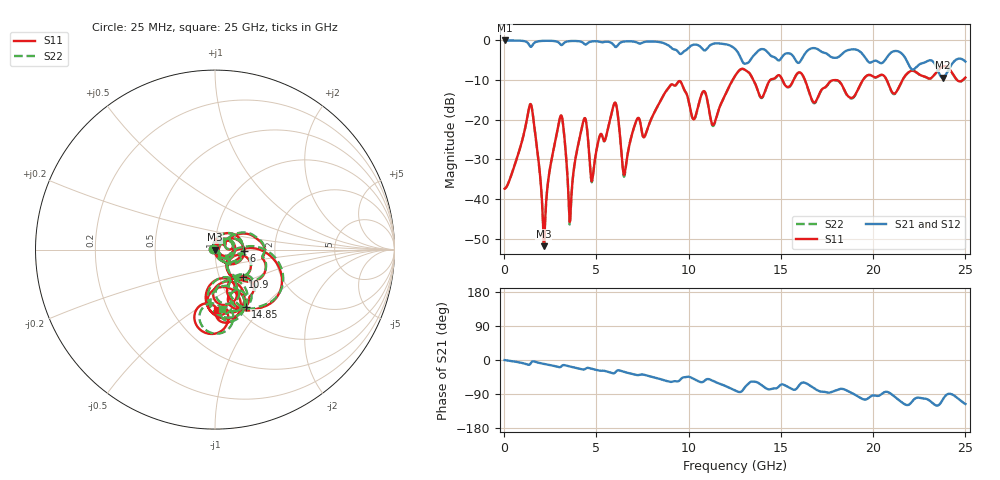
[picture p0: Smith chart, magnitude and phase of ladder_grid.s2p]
! R_s4_rect_n1: kisi's ladder with the plane pair as a finite cavity (grid) (Finite board 24 × 16 mm, via L1 → L4 through the L2/L3 cavity, one GND via 2 mm away)
# Hz S RI R 50
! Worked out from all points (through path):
!   1000 points, 25 MHz to 25 GHz, reference 50 ohm
!   highest |S21| = -0.12 dB at 25 MHz (marker M1); lowest = -9.5 dB at 23.77 GHz (marker M2)
!   group delay of S21, straight-line fit = 12.1 ps
!   lowest |S11| = -51.8 dB at 2.15 GHz (marker M3), VSWR 1.01, Z = 49.8 - j0.0812 ohm
!   |S11| at or under -10 dB: start of sweep to 12.39 GHz; 13.5 GHz to 14.43 GHz (931.5 MHz wide, 6.67 % of centre); 16.3 GHz to 19.45 GHz (3.154 GHz wide, 17.6 % of centre)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
!   |S22| runs from -51.4 to -6.6 dB; largest |S21 - S12| = 0
!   S11 on the Smith chart (normalised r, x): 25 MHz: 0.97, +0.00; 6 GHz: 1.39, -0.02; 10.9 GHz: 1.29, -0.42; 14.85 GHz: 1.10, -0.80; 25 GHz: 0.82, -0.62
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2.5e7  -0.0135 0.000984  0.9865 -0.00302  0.9865 -0.00302  -0.0135 0.000983
1.425e9  0.1551 0.0237  0.8109 -0.1396  0.8109 -0.1396  0.155 0.0246
2.15e9  -0.00244 -0.000816  0.96 -0.1729  0.96 -0.1729  -0.00256 -0.000797
3.025e9  0.0946 0.0467  0.8476 -0.2904  0.8476 -0.2904  0.0939 0.0478
3.575e9  0.00496 0.0019  0.9256 -0.2877  0.9256 -0.2877  0.00459 0.00209
4.2e9  0.0538 0.0551  0.8608 -0.3897  0.8608 -0.3897  0.0525 0.0561
4.425e9  0.0976 -0.0142  0.8095 -0.3369  0.8095 -0.3369  0.0974 -0.0124
4.775e9  0.0165 0.00556  0.8814 -0.3825  0.8814 -0.3825  0.0159 0.0061
6e9  0.1629 -0.00753  0.6891 -0.4592  0.6891 -0.4592  0.1624 -0.00363
6.525e9  0.0206 0.00122  0.8146 -0.503  0.8146 -0.503  0.0197 0.00228
7.175e9  0.086 0.0473  0.7203 -0.5951  0.7203 -0.5951  0.0838 0.0502
8.35e9  0.1259 0.0853  0.6242 -0.7109  0.6242 -0.7109  0.1223 0.0902
1.0275e10  0.083 -0.0569  0.5626 -0.6683  0.5626 -0.6683  0.0835 -0.0523
1.09e10  0.1553 -0.154  0.4457 -0.5932  0.4457 -0.5932  0.1597 -0.1466
1.135e10  0.0781 -0.036  0.5047 -0.7426  0.5047 -0.7426  0.078 -0.0309
1.2525e10  0.347 -0.081  0.1231 -0.7584  0.1231 -0.7584  0.3496 -0.064
1.485e10  0.17 -0.3177  0.1737 -0.5279  0.1737 -0.5279  0.1845 -0.3069
1.6675e10  -0.00908 -0.1788  0.2615 -0.742  0.2615 -0.742  -0.000606 -0.176
2.085e10  -0.0404 -0.2699  0.0493 -0.6503  0.0493 -0.6503  -0.0231 -0.2691
2.17e10  0.1436 -0.3148  -0.2744 -0.5501  -0.2744 -0.5501  0.1651 -0.302
2.3775e10  0.0088 -0.4661  -0.0827 -0.3258  -0.0827 -0.3258  0.0432 -0.4622
2.5e10  0.0134 -0.337  -0.2362 -0.4809  -0.2362 -0.4809  0.0395 -0.3331
